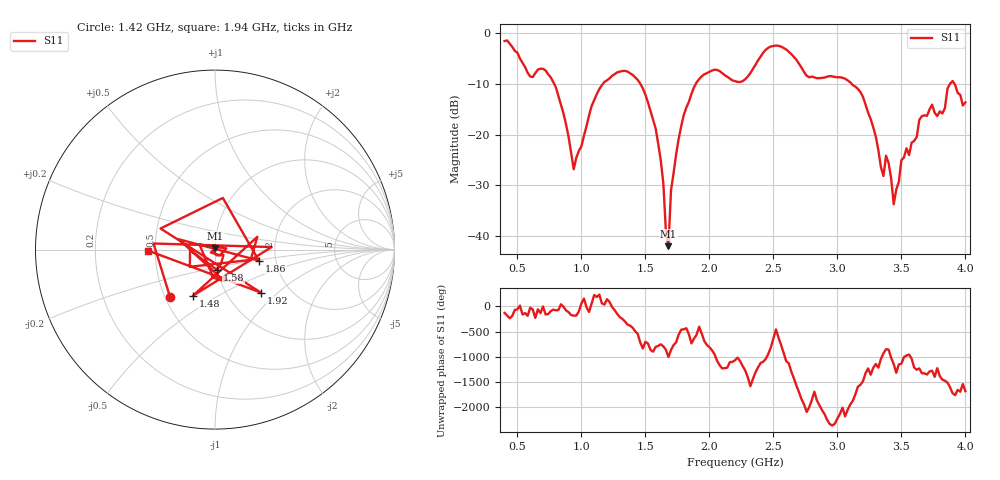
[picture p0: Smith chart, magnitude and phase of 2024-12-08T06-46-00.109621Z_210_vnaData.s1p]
!Created with skrf (http://scikit-rf.org).
# Hz S RI R 50.0
!freq ReS11 ImS11
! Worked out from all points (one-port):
!   181 points, 400 MHz to 4 GHz, reference 50 ohm
!   lowest |S11| = -41.9 dB at 1.68 GHz (marker M1), VSWR 1.02, Z = 50.2 + j0.777 ohm
!   |S11| at or under -10 dB: 786.2 MHz to 1.17 GHz (383.5 MHz wide, 39.2 % of centre); 1.46 GHz to 1.895 GHz (435 MHz wide, 25.9 % of centre); 3.11 GHz to 3.88 GHz (770.6 MHz wide, 22 % of centre) (the widest 3 of 4)
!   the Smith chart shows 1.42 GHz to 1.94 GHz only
!   S11 on the Smith chart (normalised r, x): 1.42 GHz: 0.53, -0.33; 1.48 GHz: 0.69, -0.39; 1.58 GHz: 1.00, -0.23; 1.86 GHz: 1.63, -0.21; 1.92 GHz: 1.44, -0.78; 1.94 GHz: 0.46, -0.01
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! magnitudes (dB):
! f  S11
! 400 MHz  -1.6
! 720 MHz  -7.4
! 860 MHz  -15.9
! 940 MHz  -26.8
! 1.12 GHz  -12.1
! 1.3 GHz  -7.6
! 1.42 GHz  -8.8
! 1.48 GHz  -10.9
! 1.58 GHz  -18.8
! 1.68 GHz  -41.9
! 1.7 GHz  -31.0
! 1.76 GHz  -20.8
! 1.86 GHz  -12.0
! 1.92 GHz  -9.1
! 1.94 GHz  -8.6
! 2.2 GHz  -9.5
! 2.48 GHz  -2.7
! 2.66 GHz  -4.7
! 3.1 GHz  -9.7
! 3.2 GHz  -12.6
! 3.36 GHz  -28.2
! 3.38 GHz  -24.2
! 3.44 GHz  -33.7
! 3.5 GHz  -25.0
! 3.56 GHz  -24.0
! 3.64 GHz  -17.1
! 3.9 GHz  -9.5
! 4 GHz  -13.7
